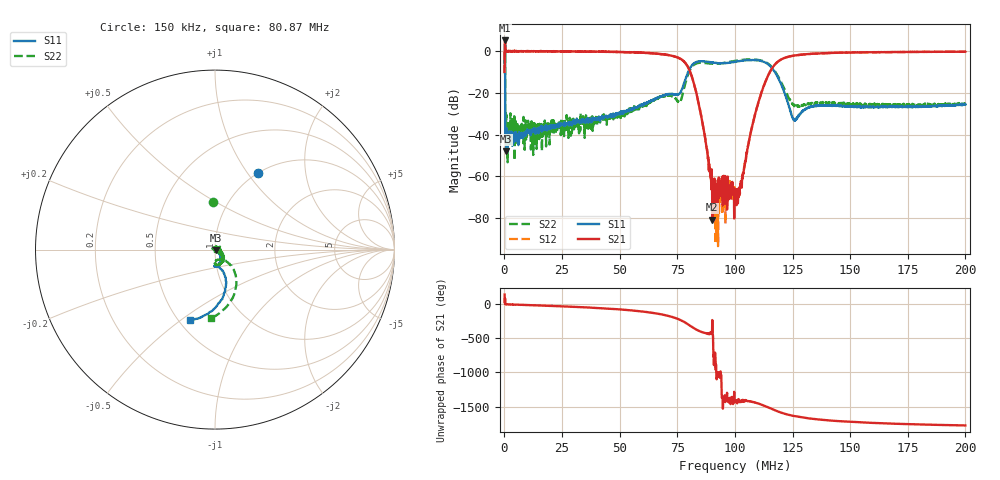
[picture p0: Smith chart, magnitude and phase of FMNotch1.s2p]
! 19-Feb-26 1:01:41 PM
! E:\VNA_MEASUREMENTS\RECBLOCK\FMNOTCH1.S2P
! CHANNEL.1
! TR.MEASUREMENT
! CORRECTED.DATA
# GHZ S RI R 50.0
! FREQ.GHZ  S11RE  S11IM  S21RE  S21IM  S12RE  S12IM  S22RE  S22IM
!; PortSelection: Port_12
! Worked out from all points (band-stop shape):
!   2000 points, 50 kHz to 200 MHz, reference 50 ohm
!   highest |S21| = 5.06 dB at 250 kHz (marker M1); lowest = -80.7 dB at 90.17 MHz (marker M2)
!   |S21| within 3 dB of the highest: 169.6 kHz to 312.3 kHz (142.7 kHz wide, 59.2 % of centre)
!   lowest |S11| = -48.0 dB at 750.2 kHz (marker M3), VSWR 1.01, Z = 50.4 - j0.143 ohm
!   |S11| at or under -10 dB: 281.9 kHz to 79.71 MHz (79.42 MHz wide, 199 % of centre); 117.3 MHz to end of sweep
!   |S22| runs from -53.2 to 3.0 dB; largest |S21 - S12| = 3
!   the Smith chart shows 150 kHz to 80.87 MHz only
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5e-05  -0.2702 0.4944  -0.2511 0.193  0.6048 -0.1176  -0.2484 -0.8958
0.00025005  0.4491 -1.386  0.1152 1.787  1.511 -0.8892  -0.877 1.099
0.000750175  0.00374 -0.00142  0.9771 -0.0182  0.9963 -0.0249  -0.00229 -0.00293
0.0020505  0.01 -0.000499  0.9955 -0.0587  0.9881 -0.0388  0.00836 -0.00993
0.03345835  0.0186 -0.00566  0.7165 -0.6633  0.7111 -0.6672  0.0151 -0.00453
0.05506376  0.0288 -0.0278  0.00134 -0.9303  -0.000176 -0.9329  0.0326 -0.0158
0.06676668  0.0295 -0.0713  -0.6564 -0.5479  -0.6606 -0.5528  0.0447 -0.0628
0.07596898  0.0169 -0.0948  -0.4706 0.4736  -0.4684 0.4762  0.0186 -0.0567
0.08057014  -0.0985 -0.3853  0.2289 0.2233  0.227 0.2219  0.0208 -0.3569
0.08507126  -0.5576 0.1128  0.0257 -0.0218  0.0254 -0.0217  -0.5206 0.0508
0.09017254  0.0977 0.5183  -5.75e-05 7.21e-05  0.000202 -0.000378  0.1497 0.4705
0.09207301  0.3658 0.3678  0.000491 -0.000173  1.46e-05 4.29e-05  0.4045 0.2855
0.09487371  0.5057 -0.0486  0.000688 0.000161  0.000483 0.000275  0.4941 -0.1486
0.100075  -0.0475 -0.5521  0.000208 1.94e-05  0.000437 -5.04e-05  -0.0956 -0.5759
0.1023756  -0.374 -0.4444  0.000623 0.000189  0.000488 0.000307  -0.401 -0.4558
0.1065766  -0.5934 0.1118  0.00919 0.0025  0.00893 0.00295  -0.623 0.0636
0.1110778  -0.1516 0.5641  0.0777 -0.0375  0.0776 -0.0369  -0.2495 0.5435
0.1150788  0.3328 0.3027  0.0559 -0.3054  0.0546 -0.3045  0.2637 0.3821
0.1255814  0.023 -0.00362  -0.7421 0.2365  -0.7378 0.23  0.0492 -0.00147
0.1333833  0.0428 0.018  -0.4553 0.7278  -0.454 0.7262  0.0555 0.00834
0.1666917  0.0368 -0.0298  0.5769 0.745  0.5758 0.7386  0.0306 -0.0422
0.2  0.0259 -0.0456  0.8849 0.3865  0.8824 0.3838  0.0131 -0.0557
